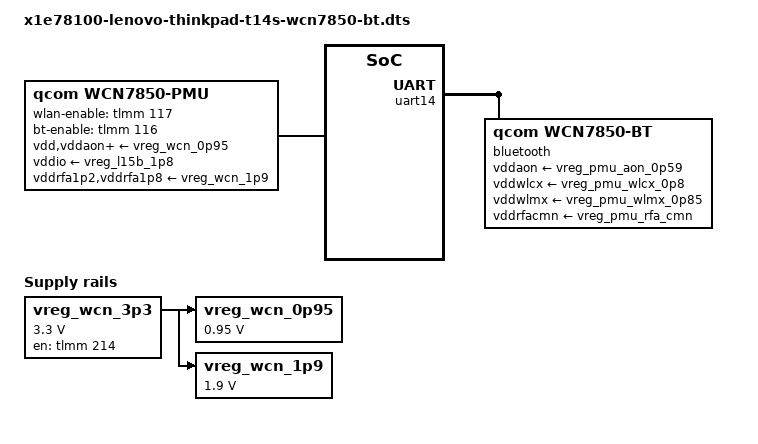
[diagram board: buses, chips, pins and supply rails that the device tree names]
// SPDX-License-Identifier: BSD-3-Clause
/*
 * Bluetooth for the WCN7850 combo chip on the ThinkPad T14s Gen 6.
 *
 * Nodes ported from gitlab.com/Linaro/arm64-laptops/linux @ 19e59e1b39ad
 * (arch/arm64/boot/dts/qcom/x1e78100-lenovo-thinkpad-t14s.dtsi),
 * Copyright (c) 2025, Linaro Limited.
 *
 * Mainline's x1e78100-lenovo-thinkpad-t14s.dtsi (as of 7.1.5) describes no
 * part of the WCN7850. Bluetooth hangs off uart14 as a serdev, and uart14 is
 * "disabled" in hamoa.dtsi, so no serdev is created, hci_uart/btqca never
 * bind, and the kernel comes up with no HCI device at all (empty
 * /sys/class/bluetooth, nothing in rfkill).
 *
 * This only affects the T14s, and only since we default to
 * pkgs.linuxPackages_latest: the Linaro tree that pkgs.x1e80100-linux is built
 * from carries these nodes, and mainline's Yoga Slim 7x DT has both the serial
 * aliases and its own bluetooth node. Drop this overlay once mainline gains
 * the T14s WCN7850 description.
 *
 * GPIO flag literals are used instead of <dt-bindings/gpio/gpio.h> to keep
 * this file compilable without kernel include paths (GPIO_ACTIVE_HIGH = 0).
 */

/dts-v1/;
/plugin/;

/ {
	compatible = "lenovo,thinkpad-t14s";
};

&{/} {
	/*
	 * Without this the whole overlay is inert: qcom_geni_serial refuses to
	 * bind uart14 and no serdev — hence no HCI device — is ever created.
	 *
	 * Mainline's T14s tree has no /aliases node at all (neither the board
	 * dtsi nor hamoa.dtsi define one; the only other UART, the uart21 debug
	 * port, is left disabled). qcom_geni_serial_probe() then gets -ENODEV
	 * from of_alias_get_id() for both "serial" and "hsuart", and
	 * get_port_from_line() asks ida_alloc_range() to start allocating at
	 * of_alias_get_highest_id("serial") + 1 — which is -ENODEV + 1 = -18,
	 * and ida_alloc_range() rejects any negative min with -ENOSPC. Probe
	 * dies with "Invalid line -19". Nothing about that start hint was
	 * written for "this board declares no serial alias", so any such board
	 * simply cannot use a non-console geni UART.
	 *
	 * Index 1 (not 0) matches both the Linaro tree and the Slim 7x, leaving
	 * serial0 for the debug UART.
	 *
	 * Spelled as a literal path rather than the natural `serial1 = &uart14;`
	 * on purpose: a path reference is resolved to a string by dtc at compile
	 * time and cannot be fixed up across an overlay boundary the way a
	 * phandle cell can, so the &-form fails to compile here. dtc emits a
	 * cosmetic alias_paths warning because it cannot see the target node
	 * from inside the overlay.
	 */
	aliases {
		serial1 = "/soc@0/geniqup@ac0000/serial@a98000";
	};

	/*
	 * The 3.3V supply switch on the mainboard. The two rails below it are
	 * actually on the removable M.2 card rather than the mainboard, but
	 * describing them as fixed regulators works because all the host has
	 * to do is turn on the 3.3V feed. (Linaro carries the same TODO.)
	 */
	vreg_wcn_3p3: regulator-wcn-3p3 {
		compatible = "regulator-fixed";

		regulator-name = "VREG_WCN_3P3";
		regulator-min-microvolt = <3300000>;
		regulator-max-microvolt = <3300000>;

		gpio = <&tlmm 214 0>;
		enable-active-high;

		pinctrl-0 = <&wcn_sw_en>;
		pinctrl-names = "default";

		regulator-boot-on;

		/*
		 * Deviation from the Linaro tree, and load-bearing. There it is
		 * boot-on only, and its wifi@0 node keeps a permanent consumer
		 * on the PMU; we do not port that node, so this regulator's
		 * use_count drops to zero whenever Bluetooth is powered down.
		 * regulator_late_cleanup() exempts always-on regulators but not
		 * boot-on ones, so without this the core would switch off 3.3V
		 * to the M.2 card.
		 */
		regulator-always-on;
	};

	vreg_wcn_0p95: regulator-wcn-0p95 {
		compatible = "regulator-fixed";

		regulator-name = "VREG_WCN_0P95";
		regulator-min-microvolt = <950000>;
		regulator-max-microvolt = <950000>;

		vin-supply = <&vreg_wcn_3p3>;
	};

	vreg_wcn_1p9: regulator-wcn-1p9 {
		compatible = "regulator-fixed";

		regulator-name = "VREG_WCN_1P9";
		regulator-min-microvolt = <1900000>;
		regulator-max-microvolt = <1900000>;

		vin-supply = <&vreg_wcn_3p3>;
	};

	wcn7850-pmu {
		compatible = "qcom,wcn7850-pmu";

		vdd-supply = <&vreg_wcn_0p95>;
		vddio-supply = <&vreg_l15b_1p8>;
		vddaon-supply = <&vreg_wcn_0p95>;
		vdddig-supply = <&vreg_wcn_0p95>;
		vddrfa1p2-supply = <&vreg_wcn_1p9>;
		vddrfa1p8-supply = <&vreg_wcn_1p9>;

		wlan-enable-gpios = <&tlmm 117 0>;
		bt-enable-gpios = <&tlmm 116 0>;

		pinctrl-0 = <&wcn_wlan_bt_en>;
		pinctrl-names = "default";

		regulators {
			vreg_pmu_rfa_cmn: ldo0 {
				regulator-name = "vreg_pmu_rfa_cmn";
			};

			vreg_pmu_aon_0p59: ldo1 {
				regulator-name = "vreg_pmu_aon_0p59";
			};

			vreg_pmu_wlcx_0p8: ldo2 {
				regulator-name = "vreg_pmu_wlcx_0p8";
			};

			vreg_pmu_wlmx_0p85: ldo3 {
				regulator-name = "vreg_pmu_wlmx_0p85";
			};

			vreg_pmu_btcmx_0p85: ldo4 {
				regulator-name = "vreg_pmu_btcmx_0p85";
			};

			vreg_pmu_rfa_0p8: ldo5 {
				regulator-name = "vreg_pmu_rfa_0p8";
			};

			vreg_pmu_rfa_1p2: ldo6 {
				regulator-name = "vreg_pmu_rfa_1p2";
			};

			vreg_pmu_rfa_1p8: ldo7 {
				regulator-name = "vreg_pmu_rfa_1p8";
			};

			vreg_pmu_pcie_0p9: ldo8 {
				regulator-name = "vreg_pmu_pcie_0p9";
			};

			vreg_pmu_pcie_1p8: ldo9 {
				regulator-name = "vreg_pmu_pcie_1p8";
			};
		};
	};
};

&tlmm {
	wcn_sw_en: wcn-sw-en-state {
		pins = "gpio214";
		function = "gpio";
		drive-strength = <2>;
		bias-disable;
	};

	wcn_wlan_bt_en: wcn-wlan-bt-en-state {
		pins = "gpio116", "gpio117";
		function = "gpio";
		drive-strength = <2>;
		bias-disable;
	};
};

&uart14 {
	status = "okay";

	bluetooth {
		compatible = "qcom,wcn7850-bt";
		max-speed = <3200000>;

		vddaon-supply = <&vreg_pmu_aon_0p59>;
		vddwlcx-supply = <&vreg_pmu_wlcx_0p8>;
		vddwlmx-supply = <&vreg_pmu_wlmx_0p85>;
		vddrfacmn-supply = <&vreg_pmu_rfa_cmn>;
		vddrfa0p8-supply = <&vreg_pmu_rfa_0p8>;
		vddrfa1p2-supply = <&vreg_pmu_rfa_1p2>;
		vddrfa1p8-supply = <&vreg_pmu_rfa_1p8>;
	};
};
